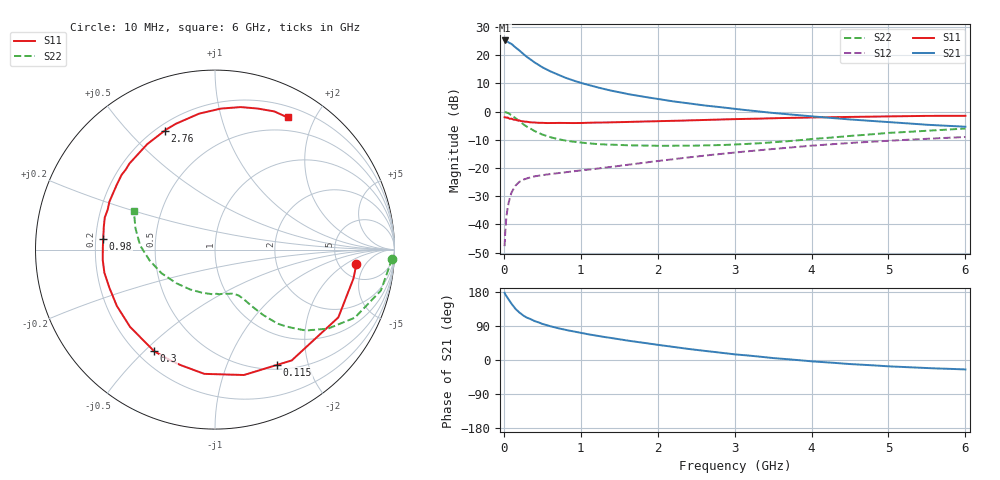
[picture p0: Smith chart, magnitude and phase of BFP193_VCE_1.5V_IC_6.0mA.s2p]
! Infineon Technologies  Discrete & RF Semiconductors
! BFP193
! VCE = 1.5 V,  IC =  6.0 mA
! Common Emitter S-Parameters:  Jan 2016
# GHz  S  MA  R  50
!  f  S11  S21  S12  S22
! GHz  MAG  ANG  MAG  ANG  MAG  ANG  MAG  ANG
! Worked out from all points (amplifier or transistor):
!   210 points, 10 MHz to 6 GHz, reference 50 ohm
!   highest |S21| = 25.2 dB at 10 MHz (marker M1)
!   |S21| within 3 dB of that: start of sweep to 175.7 MHz
!   unconditionally stable (mu >= 1): 1.178 GHz to 3.728 GHz
!   at 185 MHz: K = 0.24, MSG = 23.7 dB, |S12| = -25.4 dB
!   at 1.52 GHz: K = 1.10, MAG = 11.1 dB, |S12| = -19.2 dB
!   at 6 GHz: K = 0.93, MSG = 1.8 dB, |S12| = -9.0 dB
!   S11 on the Smith chart (normalised r, x): 10 MHz: 7.17, -3.18; 115 MHz: 0.56, -1.53; 300 MHz: 0.27, -0.54; 980 MHz: 0.23, +0.05; 2.76 GHz: 0.23, +0.64; 6 GHz: 0.33, +1.64
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0.01  0.7918 -6.0  18.22 177.5  0.0041 87.7  0.9852 -2.9
0.02  0.7882 -11.8  17.72 172.7  0.0079 81.7  0.9762 -5.6
0.05  0.7841 -28.8  17.24 163.0  0.0199 75.9  0.9517 -13.9
0.1  0.751 -55.3  15.82 148.0  0.0367 63.9  0.8663 -26.0
0.115  0.7299 -61.6  15.13 144.5  0.0401 60.5  0.8348 -28.5
0.15  0.7171 -77.0  13.77 135.2  0.0483 54.4  0.7681 -35.0
0.2  0.6949 -94.9  12.16 125.6  0.0564 47.6  0.6791 -41.6
0.26  0.666 -111.5  10.31 116.5  0.0625 42.1  0.5862 -47.0
0.3  0.6601 -120.9  9.299 111.7  0.0654 39.9  0.5396 -49.8
0.4  0.6397 -137.8  7.423 102.7  0.071 35.9  0.4507 -53.7
0.5  0.6305 -150.2  6.098 95.3  0.0747 34.2  0.3913 -56.2
0.6  0.6256 -160.2  5.196 89.3  0.0777 33.7  0.3515 -58.1
0.7  0.6296 -168.2  4.523 84.0  0.0805 33.9  0.325 -59.5
0.98  0.6258 174.5  3.29 72.4  0.0896 35.7  0.2839 -63.5
1.02  0.6274 172.4  3.17 70.9  0.0908 36.0  0.28 -64.2
1.4  0.646 155.7  2.338 57.9  0.1044 38.9  0.2591 -72.0
2.02  0.6766 134.2  1.651 39.5  0.1337 41.2  0.2464 -88.3
2.76  0.7192 113.0  1.219 20.7  0.1739 39.6  0.2527 -112.9
3.1  0.7377 105.1  1.078 13.2  0.1932 37.6  0.264 -125.2
4.1  0.7893 86.0  0.802 -4.8  0.2538 29.3  0.3328 -159.4
5.1  0.8237 71.8  0.637 -17.6  0.3089 18.6  0.4245 174.3
6  0.8403 61.2  0.538 -24.9  0.3541 8.3  0.4998 154.7
